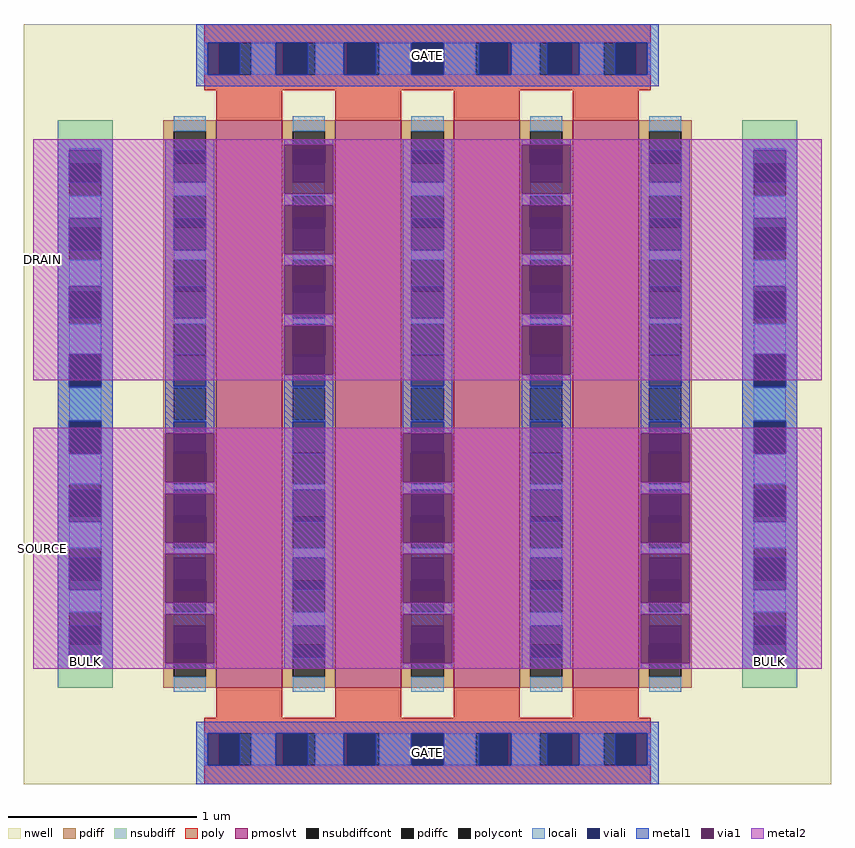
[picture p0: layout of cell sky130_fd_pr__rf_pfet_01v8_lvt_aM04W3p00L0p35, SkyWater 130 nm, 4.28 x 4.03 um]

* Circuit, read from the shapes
.subckt sky130_fd_pr__rf_pfet_01v8_lvt_aM04W3p00L0p35 BULK DRAIN GATE SOURCE
XM1 DRAIN GATE SOURCE BULK sky130_fd_pr__pfet_01v8_lvt w=3.01 l=0.35 m=4
.ends

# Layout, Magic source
magic
tech sky130A
magscale 1 2
<< nwell >>
rect 0 0 856 806
<< pmoslvt >>
rect 204 102 274 704
rect 330 102 400 704
rect 456 102 526 704
rect 582 102 652 704
<< pdiff >>
rect 148 692 204 704
rect 148 658 159 692
rect 193 658 204 692
rect 148 624 204 658
rect 148 590 159 624
rect 193 590 204 624
rect 148 556 204 590
rect 148 522 159 556
rect 193 522 204 556
rect 148 488 204 522
rect 148 454 159 488
rect 193 454 204 488
rect 148 420 204 454
rect 148 386 159 420
rect 193 386 204 420
rect 148 352 204 386
rect 148 318 159 352
rect 193 318 204 352
rect 148 284 204 318
rect 148 250 159 284
rect 193 250 204 284
rect 148 216 204 250
rect 148 182 159 216
rect 193 182 204 216
rect 148 148 204 182
rect 148 114 159 148
rect 193 114 204 148
rect 148 102 204 114
rect 274 692 330 704
rect 274 658 285 692
rect 319 658 330 692
rect 274 624 330 658
rect 274 590 285 624
rect 319 590 330 624
rect 274 556 330 590
rect 274 522 285 556
rect 319 522 330 556
rect 274 488 330 522
rect 274 454 285 488
rect 319 454 330 488
rect 274 420 330 454
rect 274 386 285 420
rect 319 386 330 420
rect 274 352 330 386
rect 274 318 285 352
rect 319 318 330 352
rect 274 284 330 318
rect 274 250 285 284
rect 319 250 330 284
rect 274 216 330 250
rect 274 182 285 216
rect 319 182 330 216
rect 274 148 330 182
rect 274 114 285 148
rect 319 114 330 148
rect 274 102 330 114
rect 400 692 456 704
rect 400 658 411 692
rect 445 658 456 692
rect 400 624 456 658
rect 400 590 411 624
rect 445 590 456 624
rect 400 556 456 590
rect 400 522 411 556
rect 445 522 456 556
rect 400 488 456 522
rect 400 454 411 488
rect 445 454 456 488
rect 400 420 456 454
rect 400 386 411 420
rect 445 386 456 420
rect 400 352 456 386
rect 400 318 411 352
rect 445 318 456 352
rect 400 284 456 318
rect 400 250 411 284
rect 445 250 456 284
rect 400 216 456 250
rect 400 182 411 216
rect 445 182 456 216
rect 400 148 456 182
rect 400 114 411 148
rect 445 114 456 148
rect 400 102 456 114
rect 526 692 582 704
rect 526 658 537 692
rect 571 658 582 692
rect 526 624 582 658
rect 526 590 537 624
rect 571 590 582 624
rect 526 556 582 590
rect 526 522 537 556
rect 571 522 582 556
rect 526 488 582 522
rect 526 454 537 488
rect 571 454 582 488
rect 526 420 582 454
rect 526 386 537 420
rect 571 386 582 420
rect 526 352 582 386
rect 526 318 537 352
rect 571 318 582 352
rect 526 284 582 318
rect 526 250 537 284
rect 571 250 582 284
rect 526 216 582 250
rect 526 182 537 216
rect 571 182 582 216
rect 526 148 582 182
rect 526 114 537 148
rect 571 114 582 148
rect 526 102 582 114
rect 652 692 708 704
rect 652 658 663 692
rect 697 658 708 692
rect 652 624 708 658
rect 652 590 663 624
rect 697 590 708 624
rect 652 556 708 590
rect 652 522 663 556
rect 697 522 708 556
rect 652 488 708 522
rect 652 454 663 488
rect 697 454 708 488
rect 652 420 708 454
rect 652 386 663 420
rect 697 386 708 420
rect 652 352 708 386
rect 652 318 663 352
rect 697 318 708 352
rect 652 284 708 318
rect 652 250 663 284
rect 697 250 708 284
rect 652 216 708 250
rect 652 182 663 216
rect 697 182 708 216
rect 652 148 708 182
rect 652 114 663 148
rect 697 114 708 148
rect 652 102 708 114
<< pdiffc >>
rect 159 658 193 692
rect 159 590 193 624
rect 159 522 193 556
rect 159 454 193 488
rect 159 386 193 420
rect 159 318 193 352
rect 159 250 193 284
rect 159 182 193 216
rect 159 114 193 148
rect 285 658 319 692
rect 285 590 319 624
rect 285 522 319 556
rect 285 454 319 488
rect 285 386 319 420
rect 285 318 319 352
rect 285 250 319 284
rect 285 182 319 216
rect 285 114 319 148
rect 411 658 445 692
rect 411 590 445 624
rect 411 522 445 556
rect 411 454 445 488
rect 411 386 445 420
rect 411 318 445 352
rect 411 250 445 284
rect 411 182 445 216
rect 411 114 445 148
rect 537 658 571 692
rect 537 590 571 624
rect 537 522 571 556
rect 537 454 571 488
rect 537 386 571 420
rect 537 318 571 352
rect 537 250 571 284
rect 537 182 571 216
rect 537 114 571 148
rect 663 658 697 692
rect 663 590 697 624
rect 663 522 697 556
rect 663 454 697 488
rect 663 386 697 420
rect 663 318 697 352
rect 663 250 697 284
rect 663 182 697 216
rect 663 114 697 148
<< nsubdiff >>
rect 36 658 94 704
rect 36 624 48 658
rect 82 624 94 658
rect 36 590 94 624
rect 36 556 48 590
rect 82 556 94 590
rect 36 522 94 556
rect 36 488 48 522
rect 82 488 94 522
rect 36 454 94 488
rect 36 420 48 454
rect 82 420 94 454
rect 36 386 94 420
rect 36 352 48 386
rect 82 352 94 386
rect 36 318 94 352
rect 36 284 48 318
rect 82 284 94 318
rect 36 250 94 284
rect 36 216 48 250
rect 82 216 94 250
rect 36 182 94 216
rect 36 148 48 182
rect 82 148 94 182
rect 36 102 94 148
rect 762 658 820 704
rect 762 624 774 658
rect 808 624 820 658
rect 762 590 820 624
rect 762 556 774 590
rect 808 556 820 590
rect 762 522 820 556
rect 762 488 774 522
rect 808 488 820 522
rect 762 454 820 488
rect 762 420 774 454
rect 808 420 820 454
rect 762 386 820 420
rect 762 352 774 386
rect 808 352 820 386
rect 762 318 820 352
rect 762 284 774 318
rect 808 284 820 318
rect 762 250 820 284
rect 762 216 774 250
rect 808 216 820 250
rect 762 182 820 216
rect 762 148 774 182
rect 808 148 820 182
rect 762 102 820 148
<< nsubdiffcont >>
rect 48 624 82 658
rect 48 556 82 590
rect 48 488 82 522
rect 48 420 82 454
rect 48 352 82 386
rect 48 284 82 318
rect 48 216 82 250
rect 48 148 82 182
rect 774 624 808 658
rect 774 556 808 590
rect 774 488 808 522
rect 774 420 808 454
rect 774 352 808 386
rect 774 284 808 318
rect 774 216 808 250
rect 774 148 808 182
<< poly >>
rect 191 786 665 806
rect 191 752 207 786
rect 241 752 275 786
rect 309 752 343 786
rect 377 752 411 786
rect 445 752 479 786
rect 513 752 547 786
rect 581 752 615 786
rect 649 752 665 786
rect 191 736 665 752
rect 204 704 274 736
rect 330 704 400 736
rect 456 704 526 736
rect 582 704 652 736
rect 204 70 274 102
rect 330 70 400 102
rect 456 70 526 102
rect 582 70 652 102
rect 191 54 665 70
rect 191 20 207 54
rect 241 20 275 54
rect 309 20 343 54
rect 377 20 411 54
rect 445 20 479 54
rect 513 20 547 54
rect 581 20 615 54
rect 649 20 665 54
rect 191 0 665 20
<< polycont >>
rect 207 752 241 786
rect 275 752 309 786
rect 343 752 377 786
rect 411 752 445 786
rect 479 752 513 786
rect 547 752 581 786
rect 615 752 649 786
rect 207 20 241 54
rect 275 20 309 54
rect 343 20 377 54
rect 411 20 445 54
rect 479 20 513 54
rect 547 20 581 54
rect 615 20 649 54
<< locali >>
rect 191 752 195 786
rect 241 752 267 786
rect 309 752 339 786
rect 377 752 411 786
rect 445 752 479 786
rect 517 752 547 786
rect 589 752 615 786
rect 661 752 665 786
rect 159 692 193 708
rect 48 672 82 674
rect 48 600 82 624
rect 48 528 82 556
rect 48 456 82 488
rect 48 386 82 420
rect 48 318 82 350
rect 48 250 82 278
rect 48 182 82 206
rect 48 132 82 134
rect 159 624 193 638
rect 159 556 193 566
rect 159 488 193 494
rect 159 420 193 422
rect 159 384 193 386
rect 159 312 193 318
rect 159 240 193 250
rect 159 168 193 182
rect 159 98 193 114
rect 285 692 319 708
rect 285 624 319 638
rect 285 556 319 566
rect 285 488 319 494
rect 285 420 319 422
rect 285 384 319 386
rect 285 312 319 318
rect 285 240 319 250
rect 285 168 319 182
rect 285 98 319 114
rect 411 692 445 708
rect 411 624 445 638
rect 411 556 445 566
rect 411 488 445 494
rect 411 420 445 422
rect 411 384 445 386
rect 411 312 445 318
rect 411 240 445 250
rect 411 168 445 182
rect 411 98 445 114
rect 537 692 571 708
rect 537 624 571 638
rect 537 556 571 566
rect 537 488 571 494
rect 537 420 571 422
rect 537 384 571 386
rect 537 312 571 318
rect 537 240 571 250
rect 537 168 571 182
rect 537 98 571 114
rect 663 692 697 708
rect 663 624 697 638
rect 663 556 697 566
rect 663 488 697 494
rect 663 420 697 422
rect 663 384 697 386
rect 663 312 697 318
rect 663 240 697 250
rect 663 168 697 182
rect 774 672 808 674
rect 774 600 808 624
rect 774 528 808 556
rect 774 456 808 488
rect 774 386 808 420
rect 774 318 808 350
rect 774 250 808 278
rect 774 182 808 206
rect 774 132 808 134
rect 663 98 697 114
rect 191 20 195 54
rect 241 20 267 54
rect 309 20 339 54
rect 377 20 411 54
rect 445 20 479 54
rect 517 20 547 54
rect 589 20 615 54
rect 661 20 665 54
<< viali >>
rect 195 752 207 786
rect 207 752 229 786
rect 267 752 275 786
rect 275 752 301 786
rect 339 752 343 786
rect 343 752 373 786
rect 411 752 445 786
rect 483 752 513 786
rect 513 752 517 786
rect 555 752 581 786
rect 581 752 589 786
rect 627 752 649 786
rect 649 752 661 786
rect 48 658 82 672
rect 48 638 82 658
rect 48 590 82 600
rect 48 566 82 590
rect 48 522 82 528
rect 48 494 82 522
rect 48 454 82 456
rect 48 422 82 454
rect 48 352 82 384
rect 48 350 82 352
rect 48 284 82 312
rect 48 278 82 284
rect 48 216 82 240
rect 48 206 82 216
rect 48 148 82 168
rect 48 134 82 148
rect 159 658 193 672
rect 159 638 193 658
rect 159 590 193 600
rect 159 566 193 590
rect 159 522 193 528
rect 159 494 193 522
rect 159 454 193 456
rect 159 422 193 454
rect 159 352 193 384
rect 159 350 193 352
rect 159 284 193 312
rect 159 278 193 284
rect 159 216 193 240
rect 159 206 193 216
rect 159 148 193 168
rect 159 134 193 148
rect 285 658 319 672
rect 285 638 319 658
rect 285 590 319 600
rect 285 566 319 590
rect 285 522 319 528
rect 285 494 319 522
rect 285 454 319 456
rect 285 422 319 454
rect 285 352 319 384
rect 285 350 319 352
rect 285 284 319 312
rect 285 278 319 284
rect 285 216 319 240
rect 285 206 319 216
rect 285 148 319 168
rect 285 134 319 148
rect 411 658 445 672
rect 411 638 445 658
rect 411 590 445 600
rect 411 566 445 590
rect 411 522 445 528
rect 411 494 445 522
rect 411 454 445 456
rect 411 422 445 454
rect 411 352 445 384
rect 411 350 445 352
rect 411 284 445 312
rect 411 278 445 284
rect 411 216 445 240
rect 411 206 445 216
rect 411 148 445 168
rect 411 134 445 148
rect 537 658 571 672
rect 537 638 571 658
rect 537 590 571 600
rect 537 566 571 590
rect 537 522 571 528
rect 537 494 571 522
rect 537 454 571 456
rect 537 422 571 454
rect 537 352 571 384
rect 537 350 571 352
rect 537 284 571 312
rect 537 278 571 284
rect 537 216 571 240
rect 537 206 571 216
rect 537 148 571 168
rect 537 134 571 148
rect 663 658 697 672
rect 663 638 697 658
rect 663 590 697 600
rect 663 566 697 590
rect 663 522 697 528
rect 663 494 697 522
rect 663 454 697 456
rect 663 422 697 454
rect 663 352 697 384
rect 663 350 697 352
rect 663 284 697 312
rect 663 278 697 284
rect 663 216 697 240
rect 663 206 697 216
rect 663 148 697 168
rect 663 134 697 148
rect 774 658 808 672
rect 774 638 808 658
rect 774 590 808 600
rect 774 566 808 590
rect 774 522 808 528
rect 774 494 808 522
rect 774 454 808 456
rect 774 422 808 454
rect 774 352 808 384
rect 774 350 808 352
rect 774 284 808 312
rect 774 278 808 284
rect 774 216 808 240
rect 774 206 808 216
rect 774 148 808 168
rect 774 134 808 148
rect 195 20 207 54
rect 207 20 229 54
rect 267 20 275 54
rect 275 20 301 54
rect 339 20 343 54
rect 343 20 373 54
rect 411 20 445 54
rect 483 20 513 54
rect 513 20 517 54
rect 555 20 581 54
rect 581 20 589 54
rect 627 20 649 54
rect 649 20 661 54
<< metal1 >>
rect 183 786 673 806
rect 183 752 195 786
rect 229 752 267 786
rect 301 752 339 786
rect 373 752 411 786
rect 445 752 483 786
rect 517 752 555 786
rect 589 752 627 786
rect 661 752 673 786
rect 183 740 673 752
rect 36 672 94 684
rect 36 638 48 672
rect 82 638 94 672
rect 36 600 94 638
rect 36 566 48 600
rect 82 566 94 600
rect 36 528 94 566
rect 36 494 48 528
rect 82 494 94 528
rect 36 456 94 494
rect 36 422 48 456
rect 82 422 94 456
rect 36 384 94 422
rect 36 350 48 384
rect 82 350 94 384
rect 36 312 94 350
rect 36 278 48 312
rect 82 278 94 312
rect 36 240 94 278
rect 36 206 48 240
rect 82 206 94 240
rect 36 168 94 206
rect 36 134 48 168
rect 82 134 94 168
rect 36 122 94 134
rect 150 672 202 684
rect 150 638 159 672
rect 193 638 202 672
rect 150 600 202 638
rect 150 566 159 600
rect 193 566 202 600
rect 150 528 202 566
rect 150 494 159 528
rect 193 494 202 528
rect 150 456 202 494
rect 150 422 159 456
rect 193 422 202 456
rect 150 384 202 422
rect 150 372 159 384
rect 193 372 202 384
rect 150 312 202 320
rect 150 308 159 312
rect 193 308 202 312
rect 150 244 202 256
rect 150 180 202 192
rect 150 122 202 128
rect 276 678 328 684
rect 276 614 328 626
rect 276 550 328 562
rect 276 494 285 498
rect 319 494 328 498
rect 276 486 328 494
rect 276 422 285 434
rect 319 422 328 434
rect 276 384 328 422
rect 276 350 285 384
rect 319 350 328 384
rect 276 312 328 350
rect 276 278 285 312
rect 319 278 328 312
rect 276 240 328 278
rect 276 206 285 240
rect 319 206 328 240
rect 276 168 328 206
rect 276 134 285 168
rect 319 134 328 168
rect 276 122 328 134
rect 402 672 454 684
rect 402 638 411 672
rect 445 638 454 672
rect 402 600 454 638
rect 402 566 411 600
rect 445 566 454 600
rect 402 528 454 566
rect 402 494 411 528
rect 445 494 454 528
rect 402 456 454 494
rect 402 422 411 456
rect 445 422 454 456
rect 402 384 454 422
rect 402 372 411 384
rect 445 372 454 384
rect 402 312 454 320
rect 402 308 411 312
rect 445 308 454 312
rect 402 244 454 256
rect 402 180 454 192
rect 402 122 454 128
rect 528 678 580 684
rect 528 614 580 626
rect 528 550 580 562
rect 528 494 537 498
rect 571 494 580 498
rect 528 486 580 494
rect 528 422 537 434
rect 571 422 580 434
rect 528 384 580 422
rect 528 350 537 384
rect 571 350 580 384
rect 528 312 580 350
rect 528 278 537 312
rect 571 278 580 312
rect 528 240 580 278
rect 528 206 537 240
rect 571 206 580 240
rect 528 168 580 206
rect 528 134 537 168
rect 571 134 580 168
rect 528 122 580 134
rect 654 672 706 684
rect 654 638 663 672
rect 697 638 706 672
rect 654 600 706 638
rect 654 566 663 600
rect 697 566 706 600
rect 654 528 706 566
rect 654 494 663 528
rect 697 494 706 528
rect 654 456 706 494
rect 654 422 663 456
rect 697 422 706 456
rect 654 384 706 422
rect 654 372 663 384
rect 697 372 706 384
rect 654 312 706 320
rect 654 308 663 312
rect 697 308 706 312
rect 654 244 706 256
rect 654 180 706 192
rect 654 122 706 128
rect 762 672 820 684
rect 762 638 774 672
rect 808 638 820 672
rect 762 600 820 638
rect 762 566 774 600
rect 808 566 820 600
rect 762 528 820 566
rect 762 494 774 528
rect 808 494 820 528
rect 762 456 820 494
rect 762 422 774 456
rect 808 422 820 456
rect 762 384 820 422
rect 762 350 774 384
rect 808 350 820 384
rect 762 312 820 350
rect 762 278 774 312
rect 808 278 820 312
rect 762 240 820 278
rect 762 206 774 240
rect 808 206 820 240
rect 762 168 820 206
rect 762 134 774 168
rect 808 134 820 168
rect 762 122 820 134
rect 183 54 673 66
rect 183 20 195 54
rect 229 20 267 54
rect 301 20 339 54
rect 373 20 411 54
rect 445 20 483 54
rect 517 20 555 54
rect 589 20 627 54
rect 661 20 673 54
rect 183 0 673 20
<< via1 >>
rect 150 350 159 372
rect 159 350 193 372
rect 193 350 202 372
rect 150 320 202 350
rect 150 278 159 308
rect 159 278 193 308
rect 193 278 202 308
rect 150 256 202 278
rect 150 240 202 244
rect 150 206 159 240
rect 159 206 193 240
rect 193 206 202 240
rect 150 192 202 206
rect 150 168 202 180
rect 150 134 159 168
rect 159 134 193 168
rect 193 134 202 168
rect 150 128 202 134
rect 276 672 328 678
rect 276 638 285 672
rect 285 638 319 672
rect 319 638 328 672
rect 276 626 328 638
rect 276 600 328 614
rect 276 566 285 600
rect 285 566 319 600
rect 319 566 328 600
rect 276 562 328 566
rect 276 528 328 550
rect 276 498 285 528
rect 285 498 319 528
rect 319 498 328 528
rect 276 456 328 486
rect 276 434 285 456
rect 285 434 319 456
rect 319 434 328 456
rect 402 350 411 372
rect 411 350 445 372
rect 445 350 454 372
rect 402 320 454 350
rect 402 278 411 308
rect 411 278 445 308
rect 445 278 454 308
rect 402 256 454 278
rect 402 240 454 244
rect 402 206 411 240
rect 411 206 445 240
rect 445 206 454 240
rect 402 192 454 206
rect 402 168 454 180
rect 402 134 411 168
rect 411 134 445 168
rect 445 134 454 168
rect 402 128 454 134
rect 528 672 580 678
rect 528 638 537 672
rect 537 638 571 672
rect 571 638 580 672
rect 528 626 580 638
rect 528 600 580 614
rect 528 566 537 600
rect 537 566 571 600
rect 571 566 580 600
rect 528 562 580 566
rect 528 528 580 550
rect 528 498 537 528
rect 537 498 571 528
rect 571 498 580 528
rect 528 456 580 486
rect 528 434 537 456
rect 537 434 571 456
rect 571 434 580 456
rect 654 350 663 372
rect 663 350 697 372
rect 697 350 706 372
rect 654 320 706 350
rect 654 278 663 308
rect 663 278 697 308
rect 697 278 706 308
rect 654 256 706 278
rect 654 240 706 244
rect 654 206 663 240
rect 663 206 697 240
rect 697 206 706 240
rect 654 192 706 206
rect 654 168 706 180
rect 654 134 663 168
rect 663 134 697 168
rect 697 134 706 168
rect 654 128 706 134
<< metal2 >>
rect 10 678 846 684
rect 10 626 276 678
rect 328 626 528 678
rect 580 626 846 678
rect 10 614 846 626
rect 10 562 276 614
rect 328 562 528 614
rect 580 562 846 614
rect 10 550 846 562
rect 10 498 276 550
rect 328 498 528 550
rect 580 498 846 550
rect 10 486 846 498
rect 10 434 276 486
rect 328 434 528 486
rect 580 434 846 486
rect 10 428 846 434
rect 10 372 846 378
rect 10 320 150 372
rect 202 320 402 372
rect 454 320 654 372
rect 706 320 846 372
rect 10 308 846 320
rect 10 256 150 308
rect 202 256 402 308
rect 454 256 654 308
rect 706 256 846 308
rect 10 244 846 256
rect 10 192 150 244
rect 202 192 402 244
rect 454 192 654 244
rect 706 192 846 244
rect 10 180 846 192
rect 10 128 150 180
rect 202 128 402 180
rect 454 128 654 180
rect 706 128 846 180
rect 10 122 846 128
<< labels >>
flabel metal2 s 10 122 30 378 7 FreeSans 300 180 0 0 SOURCE
port 4 nsew
flabel metal2 s 10 428 30 684 7 FreeSans 300 180 0 0 DRAIN
port 2 nsew
flabel metal1 s 762 122 820 138 3 FreeSans 300 90 0 0 BULK
port 1 nsew
flabel metal1 s 183 0 673 66 0 FreeSans 300 0 0 0 GATE
port 3 nsew
flabel metal1 s 183 740 673 806 0 FreeSans 300 0 0 0 GATE
port 3 nsew
flabel metal1 s 36 122 94 138 3 FreeSans 300 90 0 0 BULK
port 1 nsew
<< properties >>
string GDS_FILE $PDKPATH/libs.ref/sky130_fd_pr/gds/sky130_fd_pr.gds
string GDS_END 10005024
string GDS_START 9989520
<< end >>
